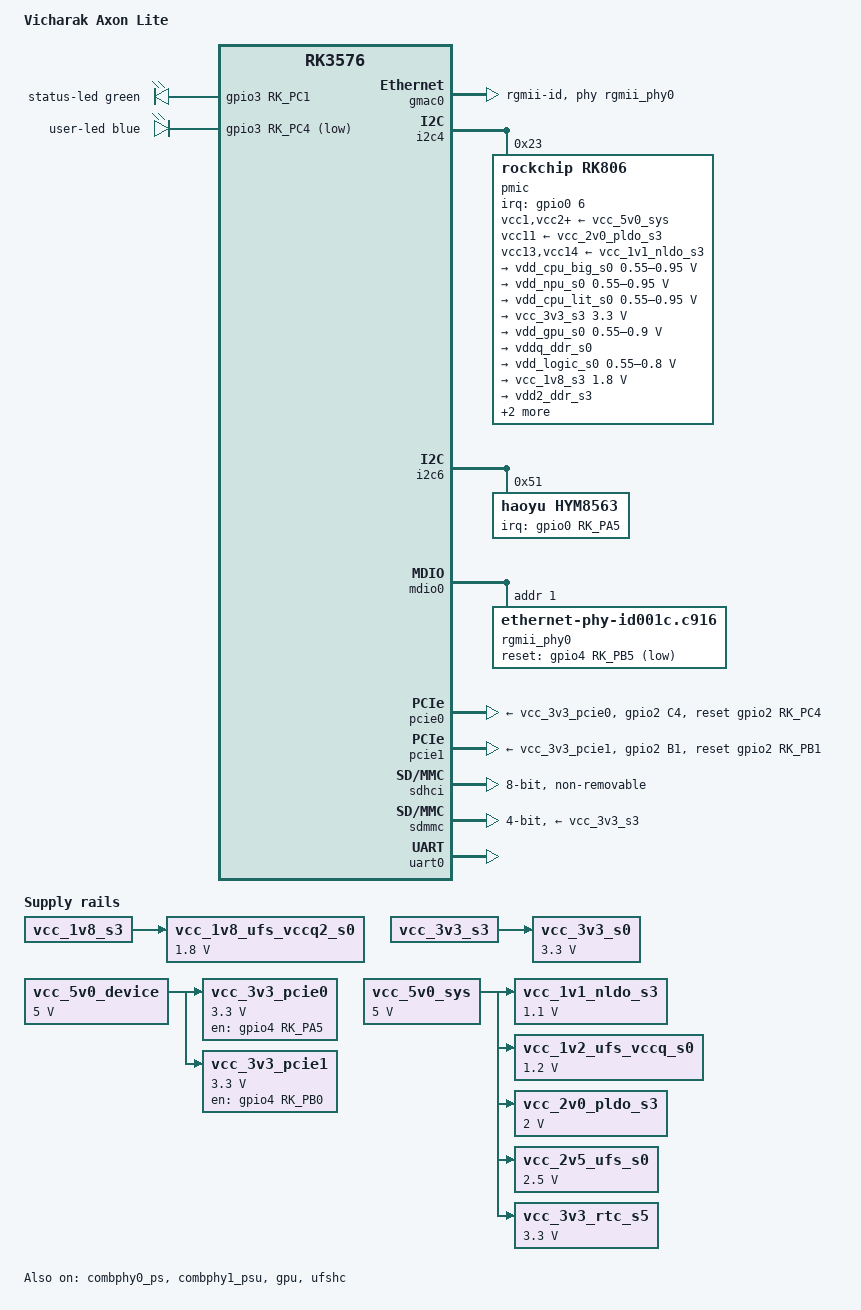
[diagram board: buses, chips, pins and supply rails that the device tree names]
// SPDX-License-Identifier: (GPL-2.0+ OR MIT)
/*
 * Copyright (c) 2026 Vicharak Computers Pvt Ltd
 */

/dts-v1/;

#include <dt-bindings/gpio/gpio.h>
#include <dt-bindings/leds/common.h>
#include <dt-bindings/pinctrl/rockchip.h>

#include "rk3576.dtsi"

/ {
	model = "Vicharak Axon Lite";
	compatible = "vicharak,axon-lite", "rockchip,rk3576";

	aliases {
		ethernet0 = &gmac0;
		mmc0 = &sdhci;
		mmc1 = &sdmmc;
	};

	chosen {
		stdout-path = "serial0:1500000n8";
	};

	leds: leds {
		compatible = "gpio-leds";
		pinctrl-names = "default";
		pinctrl-0 = <&led_rgb_g &led_rgb_b>;

		status-led {
			color = <LED_COLOR_ID_GREEN>;
			default-state = "on";
			function = LED_FUNCTION_STATUS;
			gpios = <&gpio3 RK_PC1 GPIO_ACTIVE_HIGH>;
		};

		user-led {
			color = <LED_COLOR_ID_BLUE>;
			function = LED_FUNCTION_HEARTBEAT;
			gpios = <&gpio3 RK_PC4 GPIO_ACTIVE_LOW>;
			linux,default-trigger = "heartbeat";
		};
	};

	vcc_1v1_nldo_s3: regulator-vcc-1v1-nldo-s3 {
		compatible = "regulator-fixed";
		regulator-always-on;
		regulator-boot-on;
		regulator-min-microvolt = <1100000>;
		regulator-max-microvolt = <1100000>;
		regulator-name = "vcc_1v1_nldo_s3";
		vin-supply = <&vcc_5v0_sys>;
	};

	vcc_1v2_ufs_vccq_s0: regulator-vcc-1v2-ufs-vccq-s0 {
		compatible = "regulator-fixed";
		regulator-always-on;
		regulator-boot-on;
		regulator-min-microvolt = <1200000>;
		regulator-max-microvolt = <1200000>;
		regulator-name = "vcc_1v2_ufs_vccq_s0";
		vin-supply = <&vcc_5v0_sys>;
	};

	vcc_1v8_ufs_vccq2_s0: regulator-vcc-1v8-ufs-vccq2-s0 {
		compatible = "regulator-fixed";
		regulator-always-on;
		regulator-boot-on;
		regulator-min-microvolt = <1800000>;
		regulator-max-microvolt = <1800000>;
		regulator-name = "vcc_1v8_ufs_vccq2_s0";
		vin-supply = <&vcc_1v8_s3>;
	};

	vcc_2v0_pldo_s3: regulator-vcc-2v0-pldo-s3 {
		compatible = "regulator-fixed";
		regulator-always-on;
		regulator-boot-on;
		regulator-min-microvolt = <2000000>;
		regulator-max-microvolt = <2000000>;
		regulator-name = "vcc_2v0_pldo_s3";
		vin-supply = <&vcc_5v0_sys>;
	};

	vcc_2v5_ufs_s0: regulator-vcc-2v5-ufs-s0 {
		compatible = "regulator-fixed";
		regulator-always-on;
		regulator-boot-on;
		regulator-min-microvolt = <2500000>;
		regulator-max-microvolt = <2500000>;
		regulator-name = "vcc_2v5_ufs_s0";
		vin-supply = <&vcc_5v0_sys>;
	};

	vcc_3v3_pcie0: regulator-vcc-3v3-pcie0 {
		compatible = "regulator-fixed";
		enable-active-high;
		gpios = <&gpio4 RK_PA5 GPIO_ACTIVE_HIGH>;
		pinctrl-names = "default";
		pinctrl-0 = <&pcie0_pwren>;
		regulator-min-microvolt = <3300000>;
		regulator-max-microvolt = <3300000>;
		regulator-name = "vcc_3v3_pcie0";
		startup-delay-us = <5000>;
		vin-supply = <&vcc_5v0_device>;
	};

	vcc_3v3_pcie1: regulator-vcc-3v3-pcie1 {
		compatible = "regulator-fixed";
		enable-active-high;
		gpios = <&gpio4 RK_PB0 GPIO_ACTIVE_HIGH>;
		pinctrl-names = "default";
		pinctrl-0 = <&pcie1_pwren>;
		regulator-min-microvolt = <3300000>;
		regulator-max-microvolt = <3300000>;
		regulator-name = "vcc_3v3_pcie1";
		startup-delay-us = <5000>;
		vin-supply = <&vcc_5v0_device>;
	};

	vcc_3v3_rtc_s5: regulator-vcc-3v3-rtc-s5 {
		compatible = "regulator-fixed";
		regulator-always-on;
		regulator-boot-on;
		regulator-min-microvolt = <3300000>;
		regulator-max-microvolt = <3300000>;
		regulator-name = "vcc_3v3_rtc_s5";
		vin-supply = <&vcc_5v0_sys>;
	};

	vcc_3v3_s0: regulator-vcc-3v3-s0 {
		compatible = "regulator-fixed";
		regulator-always-on;
		regulator-boot-on;
		regulator-min-microvolt = <3300000>;
		regulator-max-microvolt = <3300000>;
		regulator-name = "vcc_3v3_s0";
		vin-supply = <&vcc_3v3_s3>;
	};

	vcc_5v0_device: regulator-vcc-5v0-device {
		compatible = "regulator-fixed";
		regulator-always-on;
		regulator-boot-on;
		regulator-min-microvolt = <5000000>;
		regulator-max-microvolt = <5000000>;
		regulator-name = "vcc_5v0_device";
	};

	vcc_5v0_sys: regulator-vcc-5v0-sys {
		compatible = "regulator-fixed";
		regulator-always-on;
		regulator-boot-on;
		regulator-min-microvolt = <5000000>;
		regulator-max-microvolt = <5000000>;
		regulator-name = "vcc_5v0_sys";
	};
};

&combphy0_ps {
	status = "okay";
};

&combphy1_psu {
	status = "okay";
};

&cpu_b0 {
	cpu-supply = <&vdd_cpu_big_s0>;
};

&cpu_b1 {
	cpu-supply = <&vdd_cpu_big_s0>;
};

&cpu_b2 {
	cpu-supply = <&vdd_cpu_big_s0>;
};

&cpu_b3 {
	cpu-supply = <&vdd_cpu_big_s0>;
};

&cpu_l0 {
	cpu-supply = <&vdd_cpu_lit_s0>;
};

&cpu_l1 {
	cpu-supply = <&vdd_cpu_lit_s0>;
};

&cpu_l2 {
	cpu-supply = <&vdd_cpu_lit_s0>;
};

&cpu_l3 {
	cpu-supply = <&vdd_cpu_lit_s0>;
};

&gmac0 {
	clock_in_out = "output";
	phy-handle = <&rgmii_phy0>;
	phy-mode = "rgmii-id";
	pinctrl-names = "default";
	pinctrl-0 = <&eth0m0_miim
		     &eth0m0_tx_bus2
		     &eth0m0_rx_bus2
		     &eth0m0_rgmii_clk
		     &eth0m0_rgmii_bus
		     &ethm0_clk0_25m_out>;
	status = "okay";
};

&gpu {
	mali-supply = <&vdd_gpu_s0>;
	status = "okay";
};

&i2c4 {
	status = "okay";

	pmic@23 {
		compatible = "rockchip,rk806";
		reg = <0x23>;
		#gpio-cells = <2>;
		gpio-controller;
		interrupt-parent = <&gpio0>;
		interrupts = <6 IRQ_TYPE_LEVEL_LOW>;
		pinctrl-names = "default";
		pinctrl-0 = <&pmic_pins
			     &rk806_dvs1_null
			     &rk806_dvs2_null
			     &rk806_dvs3_null>;
		system-power-controller;
		vcc1-supply = <&vcc_5v0_sys>;
		vcc2-supply = <&vcc_5v0_sys>;
		vcc3-supply = <&vcc_5v0_sys>;
		vcc4-supply = <&vcc_5v0_sys>;
		vcc5-supply = <&vcc_5v0_sys>;
		vcc6-supply = <&vcc_5v0_sys>;
		vcc7-supply = <&vcc_5v0_sys>;
		vcc8-supply = <&vcc_5v0_sys>;
		vcc9-supply = <&vcc_5v0_sys>;
		vcc10-supply = <&vcc_5v0_sys>;
		vcc11-supply = <&vcc_2v0_pldo_s3>;
		vcc12-supply = <&vcc_5v0_sys>;
		vcc13-supply = <&vcc_1v1_nldo_s3>;
		vcc14-supply = <&vcc_1v1_nldo_s3>;
		vcca-supply = <&vcc_5v0_sys>;

		rk806_dvs1_null: dvs1-null-pins {
			pins = "gpio_pwrctrl1";
			function = "pin_fun0";
		};

		rk806_dvs1_pwrdn: dvs1-pwrdn-pins {
			pins = "gpio_pwrctrl1";
			function = "pin_fun2";
		};

		rk806_dvs1_rst: dvs1-rst-pins {
			pins = "gpio_pwrctrl1";
			function = "pin_fun3";
		};

		rk806_dvs1_slp: dvs1-slp-pins {
			pins = "gpio_pwrctrl1";
			function = "pin_fun1";
		};

		rk806_dvs2_dvs: dvs2-dvs-pins {
			pins = "gpio_pwrctrl2";
			function = "pin_fun4";
		};

		rk806_dvs2_gpio: dvs2-gpio-pins {
			pins = "gpio_pwrctrl2";
			function = "pin_fun5";
		};

		rk806_dvs2_null: dvs2-null-pins {
			pins = "gpio_pwrctrl2";
			function = "pin_fun0";
		};

		rk806_dvs2_pwrdn: dvs2-pwrdn-pins {
			pins = "gpio_pwrctrl2";
			function = "pin_fun2";
		};

		rk806_dvs2_rst: dvs2-rst-pins {
			pins = "gpio_pwrctrl2";
			function = "pin_fun3";
		};

		rk806_dvs2_slp: dvs2-slp-pins {
			pins = "gpio_pwrctrl2";
			function = "pin_fun1";
		};

		rk806_dvs3_dvs: dvs3-dvs-pins {
			pins = "gpio_pwrctrl3";
			function = "pin_fun4";
		};

		rk806_dvs3_gpio: dvs3-gpio-pins {
			pins = "gpio_pwrctrl3";
			function = "pin_fun5";
		};

		rk806_dvs3_null: dvs3-null-pins {
			pins = "gpio_pwrctrl3";
			function = "pin_fun0";
		};

		rk806_dvs3_pwrdn: dvs3-pwrdn-pins {
			pins = "gpio_pwrctrl3";
			function = "pin_fun2";
		};

		rk806_dvs3_rst: dvs3-rst-pins {
			pins = "gpio_pwrctrl3";
			function = "pin_fun3";
		};

		rk806_dvs3_slp: dvs3-slp-pins {
			pins = "gpio_pwrctrl3";
			function = "pin_fun1";
		};

		regulators {
			vdd_cpu_big_s0: dcdc-reg1 {
				regulator-always-on;
				regulator-boot-on;
				regulator-enable-ramp-delay = <400>;
				regulator-min-microvolt = <550000>;
				regulator-max-microvolt = <950000>;
				regulator-name = "vdd_cpu_big_s0";
				regulator-ramp-delay = <12500>;

				regulator-state-mem {
					regulator-off-in-suspend;
				};
			};

			vdd_npu_s0: dcdc-reg2 {
				regulator-boot-on;
				regulator-enable-ramp-delay = <400>;
				regulator-min-microvolt = <550000>;
				regulator-max-microvolt = <950000>;
				regulator-name = "vdd_npu_s0";
				regulator-ramp-delay = <12500>;

				regulator-state-mem {
					regulator-off-in-suspend;
				};
			};

			vdd_cpu_lit_s0: dcdc-reg3 {
				regulator-always-on;
				regulator-boot-on;
				regulator-min-microvolt = <550000>;
				regulator-max-microvolt = <950000>;
				regulator-name = "vdd_cpu_lit_s0";
				regulator-ramp-delay = <12500>;

				regulator-state-mem {
					regulator-off-in-suspend;
				};
			};

			vcc_3v3_s3: dcdc-reg4 {
				regulator-always-on;
				regulator-boot-on;
				regulator-min-microvolt = <3300000>;
				regulator-max-microvolt = <3300000>;
				regulator-name = "vcc_3v3_s3";

				regulator-state-mem {
					regulator-on-in-suspend;
				};
			};

			vdd_gpu_s0: dcdc-reg5 {
				regulator-boot-on;
				regulator-enable-ramp-delay = <400>;
				regulator-min-microvolt = <550000>;
				regulator-max-microvolt = <900000>;
				regulator-name = "vdd_gpu_s0";
				regulator-ramp-delay = <12500>;

				regulator-state-mem {
					regulator-off-in-suspend;
				};
			};

			vddq_ddr_s0: dcdc-reg6 {
				regulator-always-on;
				regulator-boot-on;
				regulator-name = "vddq_ddr_s0";

				regulator-state-mem {
					regulator-off-in-suspend;
				};
			};

			vdd_logic_s0: dcdc-reg7 {
				regulator-always-on;
				regulator-boot-on;
				regulator-min-microvolt = <550000>;
				regulator-max-microvolt = <800000>;
				regulator-name = "vdd_logic_s0";

				regulator-state-mem {
					regulator-off-in-suspend;
				};
			};

			vcc_1v8_s3: dcdc-reg8 {
				regulator-always-on;
				regulator-boot-on;
				regulator-min-microvolt = <1800000>;
				regulator-max-microvolt = <1800000>;
				regulator-name = "vcc_1v8_s3";

				regulator-state-mem {
					regulator-on-in-suspend;
				};
			};

			vdd2_ddr_s3: dcdc-reg9 {
				regulator-always-on;
				regulator-boot-on;
				regulator-name = "vdd2_ddr_s3";

				regulator-state-mem {
					regulator-on-in-suspend;
				};
			};

			vdd_ddr_s0: dcdc-reg10 {
				regulator-always-on;
				regulator-boot-on;
				regulator-min-microvolt = <550000>;
				regulator-max-microvolt = <1200000>;
				regulator-name = "vdd_ddr_s0";

				regulator-state-mem {
					regulator-off-in-suspend;
				};
			};

			vcca_1v8_s0: pldo-reg1 {
				regulator-always-on;
				regulator-boot-on;
				regulator-min-microvolt = <1800000>;
				regulator-max-microvolt = <1800000>;
				regulator-name = "vcca_1v8_s0";

				regulator-state-mem {
					regulator-off-in-suspend;
				};
			};

			vcca1v8_pldo2_s0: pldo-reg2 {
				regulator-always-on;
				regulator-boot-on;
				regulator-min-microvolt = <1800000>;
				regulator-max-microvolt = <1800000>;
				regulator-name = "vcca1v8_pldo2_s0";

				regulator-state-mem {
					regulator-off-in-suspend;
				};
			};

			vdda_1v2_s0: pldo-reg3 {
				regulator-always-on;
				regulator-boot-on;
				regulator-min-microvolt = <1200000>;
				regulator-max-microvolt = <1200000>;
				regulator-name = "vdda_1v2_s0";

				regulator-state-mem {
					regulator-off-in-suspend;
				};
			};

			vcca_3v3_s0: pldo-reg4 {
				regulator-always-on;
				regulator-boot-on;
				regulator-min-microvolt = <3300000>;
				regulator-max-microvolt = <3300000>;
				regulator-name = "vcca_3v3_s0";

				regulator-state-mem {
					regulator-off-in-suspend;
				};
			};

			vccio_sd_s0: pldo-reg5 {
				regulator-always-on;
				regulator-boot-on;
				regulator-min-microvolt = <1800000>;
				regulator-max-microvolt = <3300000>;
				regulator-name = "vccio_sd_s0";

				regulator-state-mem {
					regulator-off-in-suspend;
				};
			};

			vcca1v8_pldo6_s3: pldo-reg6 {
				regulator-always-on;
				regulator-boot-on;
				regulator-min-microvolt = <1800000>;
				regulator-max-microvolt = <1800000>;
				regulator-name = "vcca1v8_pldo6_s3";

				regulator-state-mem {
					regulator-on-in-suspend;
				};
			};

			vdd_0v75_s3: nldo-reg1 {
				regulator-always-on;
				regulator-boot-on;
				regulator-min-microvolt = <750000>;
				regulator-max-microvolt = <750000>;
				regulator-name = "vdd_0v75_s3";

				regulator-state-mem {
					regulator-on-in-suspend;
				};
			};

			vdda_ddr_pll_s0: nldo-reg2 {
				regulator-always-on;
				regulator-boot-on;
				regulator-min-microvolt = <850000>;
				regulator-max-microvolt = <850000>;
				regulator-name = "vdda_ddr_pll_s0";

				regulator-state-mem {
					regulator-off-in-suspend;
				};
			};

			vdda0v75_hdmi_s0: nldo-reg3 {
				regulator-always-on;
				regulator-boot-on;
				regulator-min-microvolt = <837500>;
				regulator-max-microvolt = <837500>;
				regulator-name = "vdda0v75_hdmi_s0";

				regulator-state-mem {
					regulator-off-in-suspend;
				};
			};

			vdda_0v85_s0: nldo-reg4 {
				regulator-always-on;
				regulator-boot-on;
				regulator-min-microvolt = <850000>;
				regulator-max-microvolt = <850000>;
				regulator-name = "vdda_0v85_s0";

				regulator-state-mem {
					regulator-off-in-suspend;
				};
			};

			vdda_0v75_s0: nldo-reg5 {
				regulator-always-on;
				regulator-boot-on;
				regulator-min-microvolt = <750000>;
				regulator-max-microvolt = <750000>;
				regulator-name = "vdda_0v75_s0";

				regulator-state-mem {
					regulator-off-in-suspend;
				};
			};
		};
	};
};

&i2c6 {
	pinctrl-names = "default";
	pinctrl-0 = <&i2c6m3_xfer>;
	status = "okay";

	hym8563: rtc@51 {
		compatible = "haoyu,hym8563";
		reg = <0x51>;
		#clock-cells = <0>;
		clock-output-names = "hym8563";
		interrupt-parent = <&gpio0>;
		interrupts = <RK_PA5 IRQ_TYPE_LEVEL_LOW>;
		pinctrl-names = "default";
		pinctrl-0 = <&hym8563_int>;
		wakeup-source;
	};
};

&mdio0 {
	rgmii_phy0: ethernet-phy@1 {
		compatible = "ethernet-phy-id001c.c916";
		reg = <0x1>;
		clocks = <&cru REFCLKO25M_GMAC0_OUT>;
		assigned-clocks = <&cru REFCLKO25M_GMAC0_OUT>;
		assigned-clock-rates = <25000000>;
		pinctrl-names = "default";
		pinctrl-0 = <&rtl8211f_rst>;
		reset-assert-us = <20000>;
		reset-deassert-us = <100000>;
		reset-gpios = <&gpio4 RK_PB5 GPIO_ACTIVE_LOW>;
	};
};

&pcie0 {
	pinctrl-names = "default";
	pinctrl-0 = <&pcie0_reset>;
	reset-gpios = <&gpio2 RK_PC4 GPIO_ACTIVE_HIGH>;
	vpcie3v3-supply = <&vcc_3v3_pcie0>;
	status = "okay";
};

&pcie1 {
	pinctrl-names = "default";
	pinctrl-0 = <&pcie1_reset>;
	reset-gpios = <&gpio2 RK_PB1 GPIO_ACTIVE_HIGH>;
	vpcie3v3-supply = <&vcc_3v3_pcie1>;
	status = "okay";
};

&pinctrl {
	hym8563 {
		hym8563_int: hym8563-int {
			rockchip,pins = <0 RK_PA5 RK_FUNC_GPIO &pcfg_pull_up>;
		};
	};

	leds {
		led_rgb_g: led-green-en {
			rockchip,pins = <3 RK_PC1 RK_FUNC_GPIO &pcfg_pull_none>;
		};
		led_rgb_b: led-blue-en {
			rockchip,pins = <3 RK_PC4 RK_FUNC_GPIO &pcfg_pull_none>;
		};
	};

	pcie {
		pcie0_pwren: pcie0-pwren {
			rockchip,pins = <4 RK_PA5 RK_FUNC_GPIO &pcfg_pull_none>;
		};

		pcie0_reset: pcie0-reset {
			rockchip,pins = <2 RK_PC4 RK_FUNC_GPIO &pcfg_pull_none>;
		};

		pcie1_pwren: pcie1-pwren {
			rockchip,pins = <4 RK_PB0 RK_FUNC_GPIO &pcfg_pull_none>;
		};

		pcie1_reset: pcie1-reset {
			rockchip,pins = <2 RK_PB1 RK_FUNC_GPIO &pcfg_pull_none>;
		};
	};

	rtl8211f {
		rtl8211f_rst: rtl8211f-rst {
			rockchip,pins = <4 RK_PB5 RK_FUNC_GPIO &pcfg_pull_none>;
		};
	};
};

&sdhci {
	bus-width = <8>;
	full-pwr-cycle-in-suspend;
	max-frequency = <200000000>;
	mmc-hs400-1_8v;
	mmc-hs400-enhanced-strobe;
	no-sdio;
	no-sd;
	non-removable;
	status = "okay";
};

&sdmmc {
	bus-width = <4>;
	cap-sd-highspeed;
	disable-wp;
	max-frequency = <200000000>;
	no-sdio;
	no-mmc;
	sd-uhs-sdr104;
	vmmc-supply = <&vcc_3v3_s3>;
	vqmmc-supply = <&vccio_sd_s0>;
	status = "okay";
};

&uart0 {
	pinctrl-names = "default";
	pinctrl-0 = <&uart0m0_xfer>;
	status = "okay";
};

&ufshc {
	status = "okay";
};
